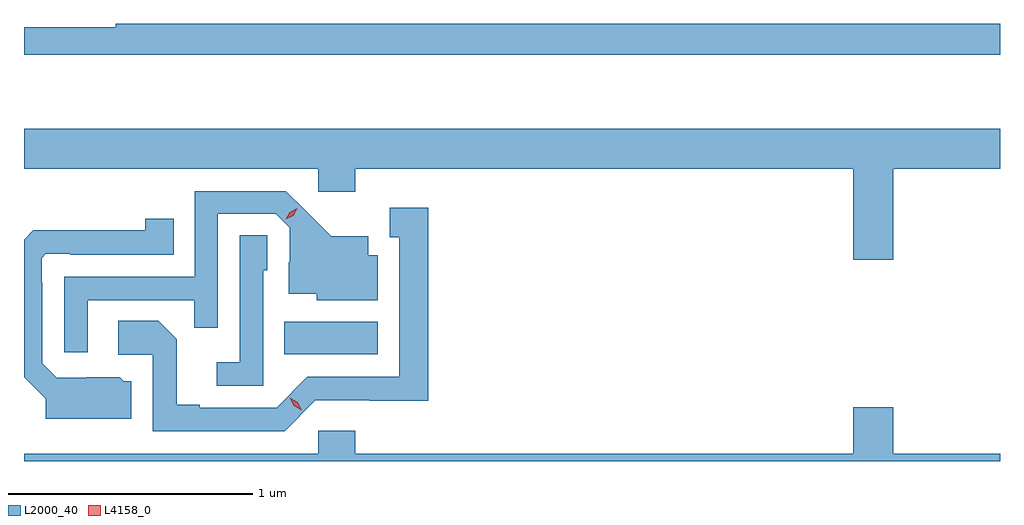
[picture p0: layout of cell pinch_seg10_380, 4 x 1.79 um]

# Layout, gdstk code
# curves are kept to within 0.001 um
import gdstk
lib = gdstk.Library(unit=1e-6, precision=1e-09)
def R(c, l, rs):  # rectangles x0, y0, x1, y1
    for r in rs: c.add(gdstk.rectangle(r[:2], r[2:], *l))
def P(c, l, *ps):  # polygons
    for p in ps: c.add(gdstk.Polygon(p, *l))
L2000_40 = (2000, 40)
L4158_0 = (4158, 0)

pinch_seg10_380 = lib.new_cell('pinch_seg10_380')
R(pinch_seg10_380, L2000_40, [(582.256,1248.938,582.64,1249.072)])
P(pinch_seg10_380, L2000_40, [(585.19,1250.294),(581.567,1250.294),(581.567,1250.279),(581.19,1250.279),(581.19,1250.166),(585.19,1250.166)],
  [(584.752,1249.7),(585.19,1249.7),(585.19,1249.864),(581.19,1249.864),(581.19,1249.7),(582.396,1249.7),(582.396,1249.605),(582.548,1249.605),(582.548,1249.7),(584.588,1249.7),(584.588,1249.326),(584.752,1249.326)],
  [(581.451,1249.161),(581.887,1249.161),(581.887,1249.048),(581.985,1249.048),(581.985,1249.515),(582.222,1249.515),(582.279,1249.458),(582.279,1249.316),(582.275,1249.316),(582.275,1249.187),(582.39,1249.187),(582.39,1249.16),(582.64,1249.16),(582.64,1249.345),(582.601,1249.345),(582.601,1249.423),(582.449,1249.423),(582.262,1249.608),(581.889,1249.608),(581.889,1249.257),(581.355,1249.257),(581.355,1248.948),(581.451,1248.948)],
  [(582.384,1248.75),(582.847,1248.749),(582.847,1249.54),(582.689,1249.54),(582.689,1249.419),(582.728,1249.419),(582.728,1248.846),(582.351,1248.846),(582.225,1248.72),(581.911,1248.72),(581.911,1248.733),(581.817,1248.733),(581.817,1249),(581.741,1249.076),(581.577,1249.076),(581.577,1248.936),(581.718,1248.936),(581.718,1248.624),(582.258,1248.624)],
  [(581.629,1248.828),(581.598,1248.828),(581.582,1248.844),(581.325,1248.843),(581.265,1248.903),(581.265,1249.232),(581.262,1249.232),(581.262,1249.332),(581.28,1249.35),(581.38,1249.35),(581.38,1249.347),(581.804,1249.347),(581.804,1249.495),(581.686,1249.495),(581.686,1249.448),(581.228,1249.447),(581.19,1249.409),(581.19,1248.845),(581.279,1248.756),(581.279,1248.674),(581.629,1248.674)],
  [(582.171,1249.284),(582.186,1249.284),(582.186,1249.427),(582.075,1249.427),(582.075,1248.907),(581.979,1248.907),(581.979,1248.81),(582.171,1248.81)],
  [(585.19,1248.532),(584.752,1248.532),(584.752,1248.721),(584.588,1248.721),(584.588,1248.532),(582.548,1248.532),(582.548,1248.625),(582.396,1248.625),(582.396,1248.532),(581.19,1248.532),(581.19,1248.5),(585.19,1248.5)])
P(pinch_seg10_380, L4158_0, [(582.328,1248.709),(582.296,1248.728),(582.279,1248.76),(582.279,1248.76),(582.279,1248.76),(582.311,1248.742),(582.328,1248.709),(582.328,1248.709)],
  [(582.262,1249.492),(582.262,1249.492),(582.279,1249.522),(582.31,1249.537),(582.31,1249.537),(582.31,1249.537),(582.293,1249.507),(582.262,1249.492)])

lib.write_gds('pinch_seg10_380.gds')
